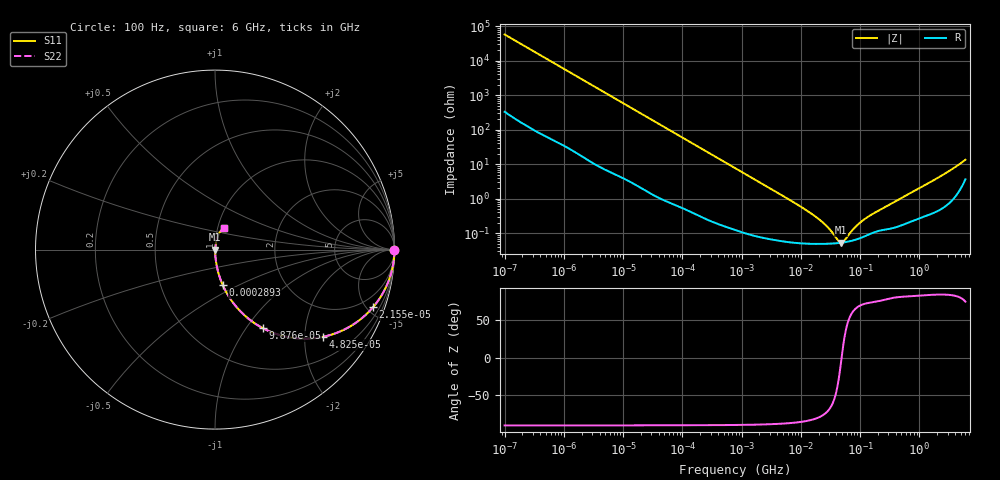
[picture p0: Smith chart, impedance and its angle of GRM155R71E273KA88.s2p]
!Murata Part Number: GRM155R71E273KA88
!These Parameters are Measured in Series Mode Connection
!Data Generated on Mar 30, 2021
!  o--ll--o
!Port1  Port2
!  o------o
!Operation Temp=25[degC], DC Bias Voltage=0[V]
!Freq. Start=100[Hz] Stop=6[GHz] 401[Steps]
# Hz S RI R 50
!Freq.(Hz) S11(Real) S11(Imag) S21(Real) S21(Imag) S12(Real) S12(Imag) S22(Real) S22(Imag)
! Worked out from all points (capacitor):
!   401 points, 100 Hz to 6 GHz, reference 50 ohm
!   read as one part in series: C = 27.5 nF near 109 Hz
!   lowest |Z| = 53.3 mohm at 47.65 MHz (marker M1)
!   series resonance near 48.81 MHz, so ESL is about 390 pH
!   S11 on the Smith chart (normalised r, x): 100 Hz: open; 21.55 kHz: 1.04, -5.47; 48.25 kHz: 1.02, -2.45; 98.76 kHz: 1.01, -1.20; 289.3 kHz: 1.00, -0.41; 6 GHz: 1.07, +0.26
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100  1 -0.00173  1.29e-05 0.00173  1.29e-05 0.00173  1 -0.00173
2008  0.9986 -0.0344  0.00138 0.0344  0.00138 0.0344  0.9986 -0.0344
7358  0.9837 -0.1234  0.0163 0.1234  0.0163 0.1234  0.9837 -0.1234
21550  0.8802 -0.3212  0.1198 0.3212  0.1198 0.3212  0.8802 -0.3212
40335  0.6806 -0.4627  0.3194 0.4627  0.3194 0.4627  0.6806 -0.4627
48246  0.5992 -0.4864  0.4008 0.4864  0.4008 0.4864  0.5992 -0.4864
69028  0.4242 -0.4902  0.5758 0.4902  0.5758 0.4902  0.4242 -0.4902
98762  0.2667 -0.4378  0.7333 0.4378  0.7333 0.4378  0.2667 -0.4378
161617  0.1216 -0.3219  0.8784 0.3219  0.8784 0.3219  0.1216 -0.3219
289253  0.0428 -0.1969  0.9572 0.1969  0.9572 0.1969  0.0428 -0.1969
774597  0.00718 -0.0768  0.9928 0.0768  0.9928 0.0768  0.00718 -0.0768
6353432  0.000637 -0.00941  0.9994 0.00941  0.9994 0.00941  0.000637 -0.00941
1.555665e7  0.000504 -0.00352  0.9995 0.00352  0.9995 0.00352  0.000504 -0.00352
2.545746e7  0.000495 -0.00174  0.9995 0.00174  0.9995 0.00174  0.000495 -0.00174
4.165952e7  0.000516 -0.000396  0.9995 0.000396  0.9995 0.000396  0.000516 -0.000396
4.764863e7  0.000529 -5.92e-05  0.9995 5.92e-05  0.9995 5.92e-05  0.000529 -5.92e-05
5.449875e7  0.000547 0.000275  0.9995 -0.000275  0.9995 -0.000275  0.000547 0.000275
7.797396e7  0.000626 0.00119  0.9994 -0.00119  0.9994 -0.00119  0.000626 0.00119
1.115611e8  0.00078 0.00222  0.9992 -0.00222  0.9992 -0.00222  0.00078 0.00222
3.124326e8  0.00138 0.00653  0.9986 -0.00653  0.9986 -0.00653  0.00138 0.00653
1.95892e9  0.00566 0.0378  0.9943 -0.0378  0.9943 -0.0378  0.00566 0.0378
6e9  0.0502 0.1191  0.9498 -0.1191  0.9498 -0.1191  0.0502 0.1191
